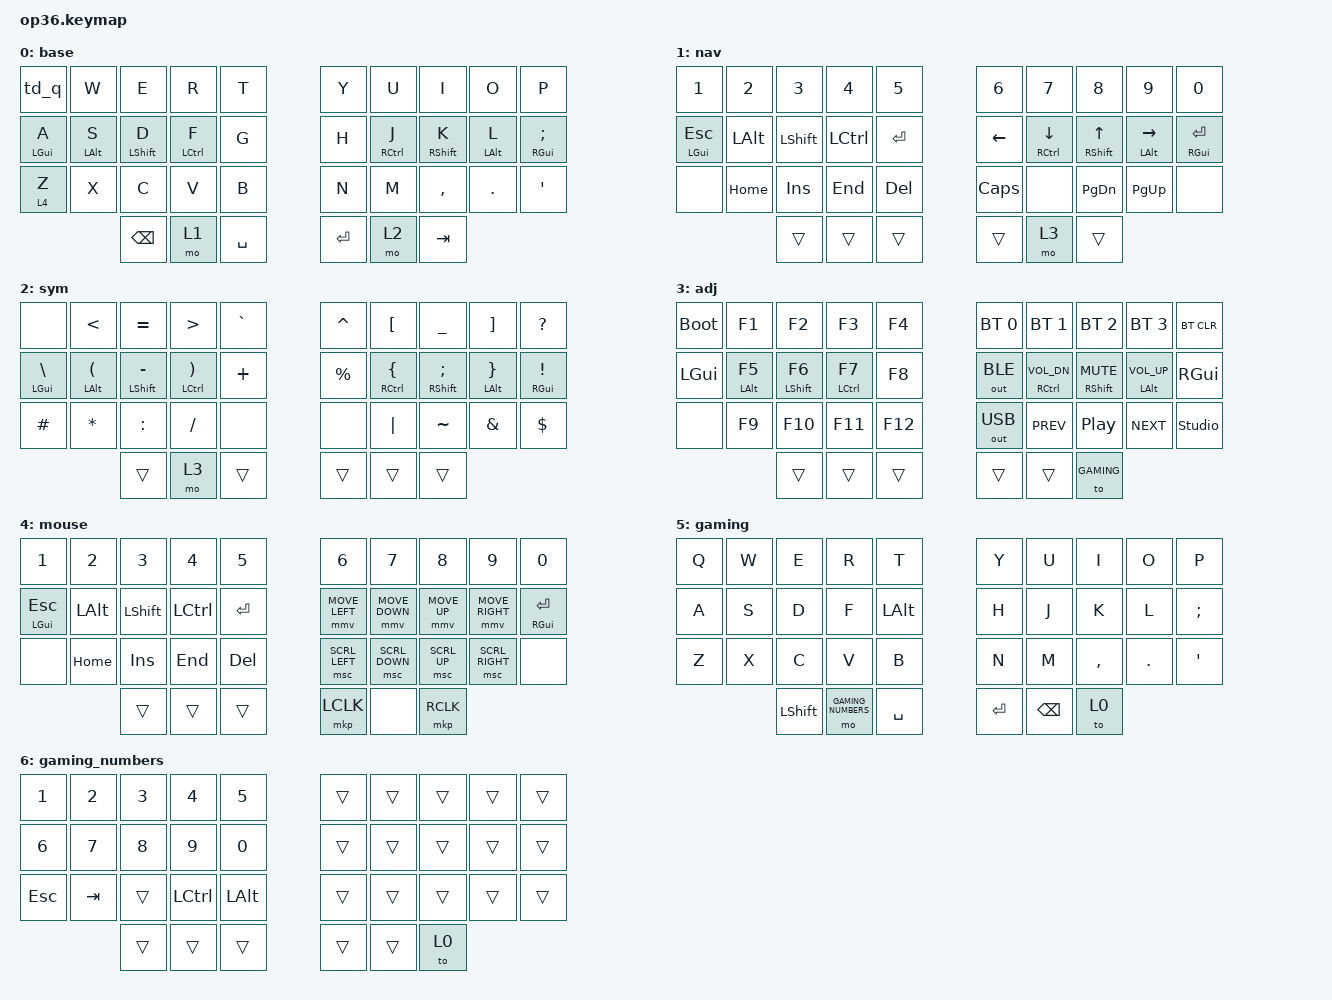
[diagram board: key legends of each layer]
#include "keys_ru.h"
#include <behaviors.dtsi>
#include <dt-bindings/zmk/bt.h>
#include <dt-bindings/zmk/keys.h>
#include <dt-bindings/zmk/outputs.h>
#include <dt-bindings/zmk/pointing.h>

// Layer indices follow the order of nodes in keymap below.
#define GAMING 5
#define GAMING_NUMBERS 6

&mt {
    quick-tap-ms = <200>;
    flavor = "tap-preferred";
    require-prior-idle-ms = <125>;
};

/ {
    behaviors {
        hml: home_row_mod_left {
            compatible = "zmk,behavior-hold-tap";
            #binding-cells = <2>;
            flavor = "balanced";
            require-prior-idle-ms = <150>;
            tapping-term-ms = <280>;
            quick-tap-ms = <175>;
            bindings = <&kp>, <&kp>;

            hold-trigger-key-positions = <5 6 7 8 9 15 16 17 18 19 25 26 27 28 29 33 34 35>;
            hold-trigger-on-release;
        };

        hmr: home_row_mod_right {
            compatible = "zmk,behavior-hold-tap";
            #binding-cells = <2>;
            flavor = "balanced";
            require-prior-idle-ms = <150>;
            tapping-term-ms = <280>;
            quick-tap-ms = <175>;
            bindings = <&kp>, <&kp>;

            hold-trigger-key-positions = <0 1 2 3 4 10 11 12 13 14 20 21 22 23 24 30 31 32>;
            hold-trigger-on-release;
        };

        td_q: td_q {
            compatible = "zmk,behavior-tap-dance";
            label = "TD_Q";
            #binding-cells = <0>;
            bindings = <&kp Q>, <&kp ESC>;
        };

        hold_tap: hold_tap {
            compatible = "zmk,behavior-hold-tap";
            label = "HOLD_TAP";
            bindings = <&mo>, <&kp>;

            #binding-cells = <2>;
            flavor = "tap-preferred";
            tapping-term-ms = <200>;
        };
    };

    combos {
        compatible = "zmk,combos";

        kha {
            bindings = <&kp LBKT>;
            key-positions = <6 7>;
            layers = <0 1 2 3 4>;
        };

        hrdsgn {
            bindings = <&kp RBKT>;
            key-positions = <7 8>;
            layers = <0 1 2 3 4>;
        };
    };

    keymap {
        compatible = "zmk,keymap";

        base {
            bindings = <
  &td_q          &kp W        &kp E         &kp R          &kp T                          &kp Y  &kp U         &kp I         &kp O        &kp P
  &hml LGUI A    &hml LALT S  &hml LSHFT D  &hml LCTRL F   &kp G                          &kp H  &hmr RCTRL J  &hmr RSHFT K  &hmr LALT L  &hmr RGUI SEMICOLON
  &hold_tap 4 Z  &kp X        &kp C         &kp V          &kp B                          &kp N  &kp M         &kp COMMA     &kp DOT      &kp SQT
                                            &kp BACKSPACE  &mo 1  &kp SPACE    &kp ENTER  &mo 2  &kp TAB
            >;
        };

        nav {
            bindings = <
  &kp N1         &kp N2    &kp N3     &kp N4     &kp N5                        &kp N6    &kp N7           &kp N8         &kp N9           &kp N0
  &hml LGUI ESC  &kp LALT  &kp LSHFT  &kp LCTRL  &kp ENTER                     &kp LEFT  &hmr RCTRL DOWN  &hmr RSHFT UP  &hmr LALT RIGHT  &hmr RIGHT_GUI ENTER
  &none          &kp HOME  &kp INS    &kp END    &kp DELETE                    &kp CAPS  &none            &kp PG_DN      &kp PG_UP        &none
                                      &trans     &trans      &trans    &trans  &mo 3     &trans
            >;
        };

        sym {
            bindings = <
  &none           &kp LT          &kp EQUAL         &kp GT           &kp GRAVE                    &kp CARET  &kp LBKT         &kp UNDER        &kp RBKT        &kp QMARK
  &hml LGUI BSLH  &hml LALT LPAR  &hml LSHFT MINUS  &hml LCTRL RPAR  &kp PLUS                     &kp PRCNT  &hmr RCTRL LBRC  &hmr RSHFT SEMI  &hmr LALT RBRC  &hmr RGUI EXCL
  &kp HASH        &kp STAR        &kp COLON         &kp FSLH         &none                        &none      &kp PIPE         &kp TILDE        &kp AMPS        &kp DLLR
                                                    &trans           &mo 3      &trans    &trans  &trans     &trans
            >;
        };

        // Enter gaming with the outermost right thumb (normally Tab).
        adj {
            bindings = <
  &bootloader  &kp F1        &kp F2         &kp F3         &kp F4                     &bt BT_SEL 0  &bt BT_SEL 1         &bt BT_SEL 2       &bt BT_SEL 3        &bt BT_CLR
  &kp LGUI     &hml LALT F5  &hml LSHFT F6  &hml LCTRL F7  &kp F8                     &out OUT_BLE  &hmr RCTRL C_VOL_DN  &hmr RSHFT C_MUTE  &hmr LALT C_VOL_UP  &kp RGUI
  &none        &kp F9        &kp F10        &kp F11        &kp F12                    &out OUT_USB  &kp C_PREV           &kp C_PP           &kp C_NEXT          &studio_unlock
                                            &trans         &trans   &trans    &trans  &trans        &to GAMING
            >;
        };

        mouse {
            bindings = <
  &kp N1         &kp N2    &kp N3     &kp N4     &kp N5                           &kp N6          &kp N7          &kp N8        &kp N9           &kp N0
  &hml LGUI ESC  &kp LALT  &kp LSHFT  &kp LCTRL  &kp ENTER                        &mmv MOVE_LEFT  &mmv MOVE_DOWN  &mmv MOVE_UP  &mmv MOVE_RIGHT  &hmr RIGHT_GUI ENTER
  &none          &kp HOME  &kp INS    &kp END    &kp DELETE                       &msc SCRL_LEFT  &msc SCRL_DOWN  &msc SCRL_UP  &msc SCRL_RIGHT  &none
                                      &trans     &trans      &trans    &mkp LCLK  &none           &mkp RCLK
            >;
        };
        // Persistent gaming mode: plain keys only, no typing combos.
        // Left thumbs (outer to inner): Shift, momentary numbers, Space.
        // Right thumbs (inner to outer): Enter, Backspace, return to base.
        // G position is dedicated Alt for alternate ability casts.
        gaming {
            bindings = <
  &kp Q  &kp W  &kp E  &kp R  &kp T    &kp Y  &kp U  &kp I      &kp O    &kp P
  &kp A  &kp S  &kp D  &kp F  &kp LALT &kp H  &kp J  &kp K      &kp L    &kp SEMICOLON
  &kp Z  &kp X  &kp C  &kp V  &kp B    &kp N  &kp M  &kp COMMA  &kp DOT  &kp SQT
          &kp LSHFT  &mo GAMING_NUMBERS  &kp SPACE    &kp ENTER  &kp BACKSPACE  &to 0
            >;
        };

        // Hold the middle left thumb for numbers 1-0; V/B become Ctrl/Alt.
        // Transparent keys fall through to gaming.
        gaming_numbers {
            bindings = <
  &kp N1     &kp N2   &kp N3  &kp N4  &kp N5    &trans  &trans  &trans  &trans  &trans
  &kp N6     &kp N7   &kp N8  &kp N9     &kp N0      &trans  &trans  &trans  &trans  &trans
  &kp ESC    &kp TAB  &trans  &kp LCTRL  &kp LALT    &trans  &trans  &trans  &trans  &trans
             &trans  &trans  &trans    &trans  &trans  &to 0
            >;
        };
    };
};
